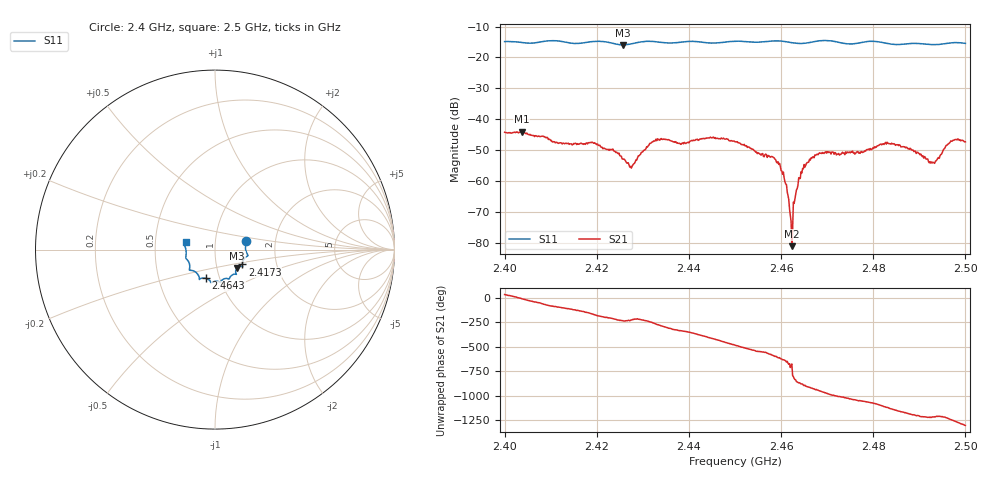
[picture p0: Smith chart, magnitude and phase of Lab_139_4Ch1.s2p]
# Hz S RI R 50
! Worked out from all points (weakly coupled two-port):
!   601 points, 2.4 GHz to 2.5 GHz, reference 50 ohm
!   highest |S21| = -44.11 dB at 2.4037 GHz (marker M1); lowest = -81.2 dB at 2.4623 GHz (marker M2)
!   lowest |S11| = -15.9 dB at 2.4257 GHz (marker M3), VSWR 1.38, Z = 62.4 - j13.1 ohm
!   |S11| at or under -10 dB: start of sweep to end of sweep
!   S12 and S22 are empty: the file has one direction only
!   S11 on the Smith chart (normalised r, x): 2.4 GHz: 1.41, +0.14; 2.4173 GHz: 1.34, -0.23; 2.4643 GHz: 0.86, -0.28; 2.5 GHz: 0.72, +0.06
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2.4e9  0.1734 0.0495  0.00522 0.00323  0 0  0 0
2.403667e9  0.1722 0.0284  0.00613 -0.00111  0 0  0 0
2.416667e9  0.1529 -0.0749  -0.00304 -0.00271  0 0  0 0
2.417333e9  0.1522 -0.0825  -0.00326 -0.00232  0 0  0 0
2.423333e9  0.1422 -0.0934  -0.00272 0.00168  0 0  0 0
2.425667e9  0.1225 -0.1024  -0.00132 0.00181  0 0  0 0
2.427667e9  0.1152 -0.1207  -0.00121 0.00123  0 0  0 0
2.431333e9  0.1192 -0.1382  -0.00172 0.00339  0 0  0 0
2.433333e9  0.1126 -0.1367  0.00045 0.00461  0 0  0 0
2.45e9  0.0297 -0.181  -0.00235 -0.00359  0 0  0 0
2.459333e9  -0.022 -0.1837  -0.000648 0.00194  0 0  0 0
2.461e9  -0.0256 -0.1781  0.000231 0.000859  0 0  0 0
2.462e9  -0.0293 -0.1723  0.000274 4.18e-05  0 0  0 0
2.462333e9  -0.0313 -0.1703  6.22e-05 6.12e-05  0 0  0 0
2.462833e9  -0.0349 -0.1673  -9.28e-05 -0.000421  0 0  0 0
2.463167e9  -0.0376 -0.1655  -0.000273 -0.000531  0 0  0 0
2.464333e9  -0.0501 -0.1603  -0.0013 -0.00052  0 0  0 0
2.466667e9  -0.0763 -0.1597  -0.00215 0.000862  0 0  0 0
2.483333e9  -0.1407 -0.0895  0.0029 -0.00277  0 0  0 0
2.492833e9  -0.1603 -0.0158  -0.00137 -0.00139  0 0  0 0
2.497167e9  -0.1707 0.0272  -0.0043 -0.00103  0 0  0 0
2.5e9  -0.1635 0.0419  -0.0032 0.00285  0 0  0 0
